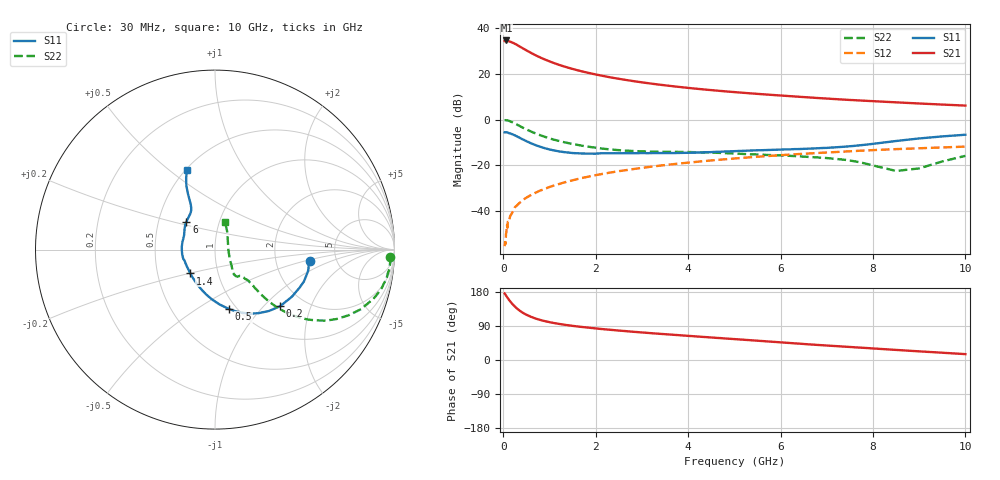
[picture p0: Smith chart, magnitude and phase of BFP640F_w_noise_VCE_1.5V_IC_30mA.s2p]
! Infineon Technologies  Discrete & RF Semiconductors
! BFP640F
! VCE =  1.5 V,  IC =  30 mA
! Common Emitter S-Parameters:  Apr 2013
# GHz  S  MA  R  50
!  f  S11  S21  S12  S22
! GHz  MAG  ANG  MAG  ANG  MAG  ANG  MAG  ANG
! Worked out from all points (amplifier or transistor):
!   99 points, 30 MHz to 10 GHz, reference 50 ohm
!   highest |S21| = 34.7 dB at 70 MHz (marker M1)
!   |S21| within 3 dB of that: start of sweep to 386.9 MHz
!   unconditionally stable (mu >= 1): 1.776 GHz to end of sweep
!   at 350 MHz: K = 0.48, MSG = 34.3 dB, |S12| = -36.5 dB
!   at 3.5 GHz: K = 1.06, MAG = 16.0 dB, |S12| = -19.9 dB
!   at 10 GHz: K = 1.04, MAG = 7.7 dB, |S12| = -11.8 dB
!   lowest NFmin = 1.02 dB at 450 MHz
!   S11 on the Smith chart (normalised r, x): 30 MHz: 3.15, -0.58; 200 MHz: 1.51, -1.24; 500 MHz: 0.92, -0.69; 1.4 GHz: 0.73, -0.20; 6 GHz: 0.69, +0.22; 10 GHz: 0.51, +0.58
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0.03  0.5309 -7.1  53.04 175.6  0.0017 74.8  0.9778 -2.4
0.05  0.5317 -11.6  54.37 172.1  0.0019 91.0  0.9781 -5.1
0.07  0.5291 -15.7  54.49 168.2  0.0036 68.6  0.9719 -7.8
0.11  0.5165 -24.4  52.82 161.3  0.0057 79.5  0.9546 -12.7
0.15  0.4999 -32.4  51.28 154.9  0.0077 83.3  0.9237 -17.3
0.2  0.48 -41.2  48.87 147.6  0.0094 79.3  0.8784 -22.2
0.25  0.4553 -48.7  46.27 141.3  0.012 75.7  0.8292 -26.2
0.3  0.4296 -55.5  43.47 135.6  0.0134 76.0  0.7802 -29.7
0.4  0.3801 -67.3  37.94 126.5  0.0164 72.8  0.6893 -34.9
0.5  0.3394 -76.9  33.14 119.5  0.0196 71.4  0.6151 -38.4
0.6  0.3056 -85.5  29.17 114.0  0.0224 70.8  0.5523 -40.8
0.8  0.2558 -100.7  23.12 105.7  0.0281 70.6  0.4584 -43.2
1.1  0.2123 -120.0  17.39 97.5  0.0362 70.4  0.3652 -44.2
1.4  0.1915 -136.0  13.85 91.7  0.0444 70.2  0.309 -43.9
1.7  0.1824 -149.5  11.49 87.2  0.0528 69.0  0.2703 -43.1
2.4  0.1848 -172.0  8.203 78.8  0.0719 66.6  0.2197 -44.5
3.4  0.1866 166.5  5.834 69.0  0.099 61.8  0.1987 -48.0
5.1  0.2068 144.8  3.957 54.3  0.1441 52.6  0.18 -52.4
6  0.2213 136.2  3.395 46.6  0.1673 47.4  0.1651 -52.2
6.7  0.2347 128.3  3.041 40.6  0.1843 43.1  0.1513 -50.6
8.5  0.3421 116.0  2.404 26.6  0.2271 32.2  0.0755 -5.6
10  0.4695 109.3  2.041 15.5  0.2577 23.3  0.1618 69.6
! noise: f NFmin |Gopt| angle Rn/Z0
0.45  1.02  0.21  -173  0.07
0.9  1.03  0.22  -168  0.07
1.5  1.05  0.23  -162  0.08
1.9  1.08  0.24  -156  0.08
2.4  1.11  0.24  -146  0.09
3.5  1.19  0.25  -137  0.1
5.5  1.38  0.26  -119  0.14
10  1.83  0.45  -83  0.47
